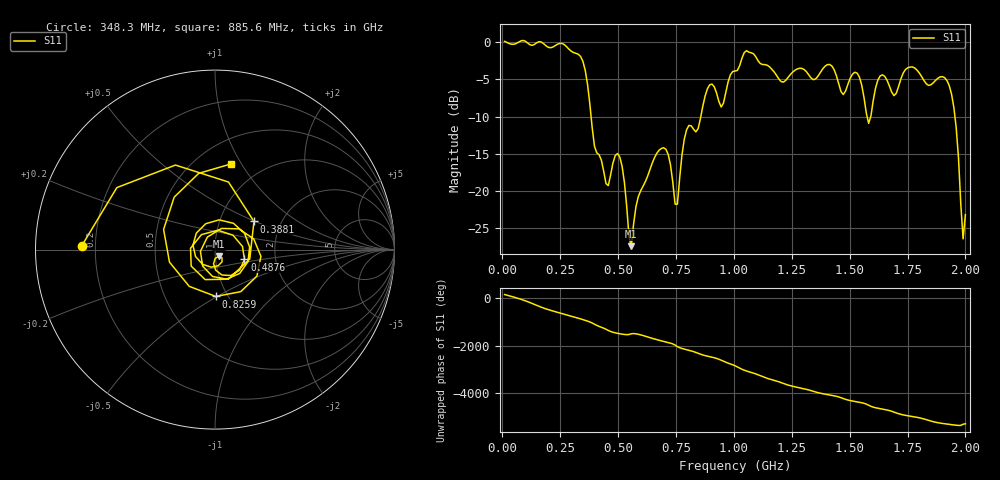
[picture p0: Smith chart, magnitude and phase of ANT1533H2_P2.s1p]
!Created with skrf (http://scikit-rf.org).
# Hz S RI R 50.0
!freq ReS11 ImS11
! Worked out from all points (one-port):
!   201 points, 10 MHz to 2 GHz, reference 50 ohm
!   lowest |S11| = -27.4 dB at 557.2 MHz (marker M1), VSWR 1.09, Z = 52.1 - j3.83 ohm
!   |S11| at or under -10 dB: 383.5 MHz to 857.2 MHz (473.7 MHz wide, 76.4 % of centre); 1.576 GHz to 1.591 GHz (15.47 MHz wide, 0.977 % of centre); 1.955 GHz to end of sweep
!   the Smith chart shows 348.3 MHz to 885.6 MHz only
!   S11 on the Smith chart (normalised r, x): 348.3 MHz: 0.15, +0.01; 388.1 MHz: 1.46, +0.49; 487.6 MHz: 1.38, -0.16; 825.9 MHz: 0.88, -0.49; 885.6 MHz: 0.72, +0.90
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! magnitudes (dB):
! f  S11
! 10 MHz  0.1
! 258.8 MHz  -0.2
! 348.3 MHz  -2.6
! 388.1 MHz  -11.4
! 447.8 MHz  -19.0
! 487.6 MHz  -15.2
! 507.5 MHz  -15.4
! 557.2 MHz  -27.4
! 587.1 MHz  -20.8
! 676.6 MHz  -14.5
! 716.5 MHz  -15.1
! 756.2 MHz  -21.7
! 786.1 MHz  -13.0
! 825.9 MHz  -11.7
! 885.6 MHz  -6.3
! 945.3 MHz  -8.7
! 1.005 GHz  -3.9
! 1.254 GHz  -4.0
! 1.502 GHz  -4.8
! 1.542 GHz  -4.7
! 1.582 GHz  -10.9
! 1.632 GHz  -4.5
! 1.692 GHz  -7.2
! 1.751 GHz  -3.4
! 1.93 GHz  -5.8
! 1.96 GHz  -11.4
! 1.99 GHz  -26.4
! 2 GHz  -23.1
